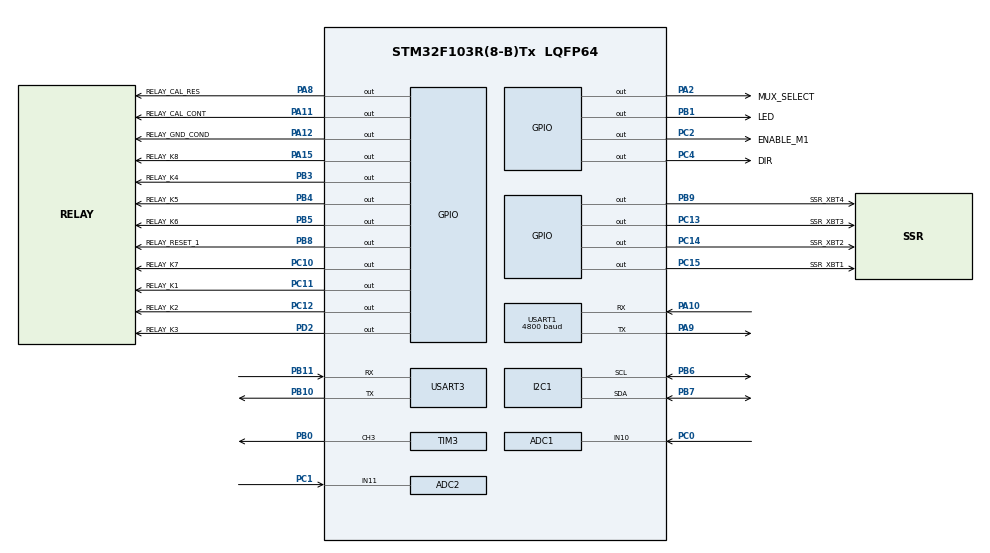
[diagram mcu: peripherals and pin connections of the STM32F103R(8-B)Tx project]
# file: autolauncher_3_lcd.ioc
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ADC1.Channel-0\#ChannelRegularConversion=ADC_CHANNEL_10
ADC1.NbrOfConversionFlag=1
ADC1.Rank-0\#ChannelRegularConversion=1
ADC1.SamplingTime-0\#ChannelRegularConversion=ADC_SAMPLETIME_1CYCLE_5
ADC1.master=1
ADC2.Channel-0\#ChannelRegularConversion=ADC_CHANNEL_11
ADC2.NbrOfConversionFlag=1
ADC2.Rank-0\#ChannelRegularConversion=1
ADC2.SamplingTime-0\#ChannelRegularConversion=ADC_SAMPLETIME_1CYCLE_5
Mcu.Family=STM32F1
Mcu.Name=STM32F103R(8-B)Tx
Mcu.Package=LQFP64
NVIC.PriorityGroup=NVIC_PRIORITYGROUP_4
PA10.Mode=Asynchronous
PA10.Signal=USART1_RX
PA11.GPIO_Label=RELAY_CAL_CONT
PA11.Signal=GPIO_Output
PA12.GPIO_Label=RELAY_GND_COND
PA12.Signal=GPIO_Output
PA13.Mode=Serial_Wire
PA13.Signal=SYS_JTMS-SWDIO
PA14.Mode=Serial_Wire
PA14.Signal=SYS_JTCK-SWCLK
PA15.GPIO_Label=RELAY_K8
PA15.Signal=GPIO_Output
PA2.GPIO_Label=MUX_SELECT
PA2.Signal=GPIO_Output
PA8.GPIO_Label=RELAY_CAL_RES
PA8.Signal=GPIO_Output
PA9.Mode=Asynchronous
PA9.Signal=USART1_TX
PB0.Signal=S_TIM3_CH3
PB1.GPIO_Label=LED
PB1.Signal=GPIO_Output
PB10.Mode=Asynchronous
PB10.Signal=USART3_TX
PB11.Mode=Asynchronous
PB11.Signal=USART3_RX
PB3.GPIO_Label=RELAY_K4
PB3.Signal=GPIO_Output
PB4.GPIO_Label=RELAY_K5
PB4.Signal=GPIO_Output
PB5.GPIO_Label=RELAY_K6
PB5.Signal=GPIO_Output
PB6.Mode=I2C
PB6.Signal=I2C1_SCL
PB7.Mode=I2C
PB7.Signal=I2C1_SDA
PB8.GPIO_Label=RELAY_RESET_1
PB8.Signal=GPIO_Output
PB9.GPIO_Label=SSR_XBT4
PB9.Signal=GPIO_Output
PC0.Signal=ADCx_IN10
PC1.Signal=ADCx_IN11
PC10.GPIO_Label=RELAY_K7
PC10.Signal=GPIO_Output
PC11.GPIO_Label=RELAY_K1
PC11.Signal=GPIO_Output
PC12.GPIO_Label=RELAY_K2
PC12.Signal=GPIO_Output
PC13-TAMPER-RTC.GPIO_Label=SSR_XBT3
PC13-TAMPER-RTC.Signal=GPIO_Output
PC14-OSC32_IN.GPIO_Label=SSR_XBT2
PC14-OSC32_IN.Signal=GPIO_Output
PC15-OSC32_OUT.GPIO_Label=SSR_XBT1
PC15-OSC32_OUT.Signal=GPIO_Output
PC2.GPIO_Label=ENABLE_M1
PC2.Signal=GPIO_Output
PC4.GPIO_Label=DIR
PC4.Signal=GPIO_Output
PD0-OSC_IN.Mode=HSE-External-Oscillator
PD0-OSC_IN.Signal=RCC_OSC_IN
PD1-OSC_OUT.Mode=HSE-External-Oscillator
PD1-OSC_OUT.Signal=RCC_OSC_OUT
PD2.GPIO_Label=RELAY_K3
PD2.Signal=GPIO_Output
ProjectManager.HeapSize=0x200
ProjectManager.StackSize=0x400
ProjectManager.TargetToolchain=STM32CubeIDE
RCC.APB1Freq_Value=8000000
RCC.APB2Freq_Value=8000000
SH.ADCx_IN10.0=ADC1_IN10,IN10
SH.ADCx_IN11.0=ADC2_IN11,IN11
SH.S_TIM3_CH3.0=TIM3_CH3,Output Compare3 CH3
TIM3.AutoReloadPreload=TIM_AUTORELOAD_PRELOAD_ENABLE
TIM3.Channel-Output\ Compare3\ CH3=TIM_CHANNEL_3
TIM3.OCMode_3=TIM_OCMODE_TOGGLE
TIM3.Period=15-1
TIM3.Prescaler=1000-1
USART1.BaudRate=4800
USART1.VirtualMode=VM_ASYNC
USART3.VirtualMode=VM_ASYNC
VP_TIM3_VS_ClockSourceINT.Mode=Internal
board=custom

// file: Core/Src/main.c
/* USER CODE BEGIN Header */
/**
  ******************************************************************************
  * @file           : main.c
  * @brief          : Main program body
  ******************************************************************************
  * @attention
  *
  * Copyright (c) 2024 STMicroelectronics.
  * All rights reserved.
  *
  * This software is licensed under terms that can be found in the LICENSE file
  * in the root directory of this software component.
  * If no LICENSE file comes with this software, it is provided AS-IS.
  *
  ******************************************************************************
  */
/* USER CODE END Header */
#include "main.h"
#include "adc.h"
#include "i2c.h"
#include "tim.h"
#include "usart.h"
#include "gpio.h"

/* USER CODE BEGIN Includes */
#include "API_lcd_i2c.h"
/* USER CODE END Includes */

/* USER CODE BEGIN PD */
#define WELCOME_MSG "Welcome to the Autolauncher console test\r\n"
//#define MAIN_MENU "Select an option:\r\n1-Toggle green led\r\n2-Set relay\r\n3-Reset relay\r\n4-Run motor CW\r\n5-Run motor CCW\r\n6-MUX change to GPS\r\n7-MUX change to STM32\r\n8-Read Vin\r\n9-Write/read eeprom\r\n0-Read eeprom\r\n"
#define PROMPT "\r\n> Enter command: "
/* USER CODE END PD */

/* USER CODE BEGIN PV */
const char menu[] = "Select an option:"
		"\r\n0-Read eeprom\r\n1-Toggle green led\r\n2-Set relay K1\r\n3-Reset relays 1-6\r\n4-Run motor CW\r\n5-Run motor CCW"
		"\r\n6-MUX change to GPS\r\n7-MUX change to STM32\r\n8-Read Vin\r\n9-Write/read eeprom"
		"\r\na-Set relay K2\r\nb-Set relay K3\r\nc-Set relay K4\r\nd-Set relay K5\r\ne-Set relay K6\r\n";
/* USER CODE END PV */

void SystemClock_Config(void);
/* USER CODE BEGIN PFP */
void printWelcomeMessage(void); // Print initial message
//uint8_t readInput(void);
char readInput(void);
//uint8_t processInput(uint8_t option);
uint8_t processInput(char option);
/* USER CODE END PFP */

int main(void)
{

  /* MCU Configuration--------------------------------------------------------*/

  /* Reset of all peripherals, Initializes the Flash interface and the Systick. */
  HAL_Init();

  /* Configure the system clock */
  SystemClock_Config();

  /* Initialize all configured peripherals */
  MX_GPIO_Init();
  MX_TIM3_Init();
  MX_USART1_UART_Init();
  MX_ADC1_Init();
  MX_ADC2_Init();
  MX_I2C1_Init();
  MX_USART3_UART_Init();
  /* USER CODE BEGIN 2 */

  /* LCD */
  i2c_linker(&hi2c1);
  lcd_init();

  uint8_t text0[] = "* PCSE *";
  uint8_t text1[] = "CESE 2023";
  uint8_t text2[] = "UBA";
  const uint8_t space[] = " ";

  lcd_clear();
  HAL_Delay(1000);
  lcd_print_text(text0, sizeof(text0));
  HAL_Delay(1000);
  lcd_clear();
  HAL_Delay(1000);
  //lcd_set_position(1, 1);
  return_home();
  lcd_print_text(text1, sizeof(text1));
  lcd_set_position(2, 1);
  lcd_print_text(text2, sizeof(text2));

  lcd_print_text(space, sizeof(space));

  uint8_t mychar1[] = { 0x00, 0x0E, 0x11, 0x11, 0x11,0x0E, 0x00,0x00 }; // empty circle
  uint8_t mychar2[] = {0x00, 0x00, 0x0A, 0x00, 0x11, 0x0E, 0x00, 0x00}; // face
  uint8_t mychar3[] = {0x00,0x0E,0x1F,0x1F,0x1F,0x0E,0x00,0x00}; // full circle

  create_character(0, mychar1);
  create_character(1, mychar2);
  create_character(3, mychar3);

  lcd_set_position(2, 5);

  lcd_send_byte(0, RS_DATA, RW_WRITE);
  lcd_send_byte(1, RS_DATA, RW_WRITE);
  lcd_send_byte(3, RS_DATA, RW_WRITE);

  uint8_t charIndex = 0;
  /* LCD */

  HAL_GPIO_WritePin(ENABLE_M1_GPIO_Port, ENABLE_M1_Pin, SET); // Active low >> start disabled

  //uint8_t option = 0; // Initial option value
  char option = '\0';
  uint8_t result = 0;

  // SET = UART-tx / RESET = Din from GPS
  HAL_GPIO_WritePin(MUX_SELECT_GPIO_Port, MUX_SELECT_Pin, SET);

  // Initialize relay in reset state
  HAL_GPIO_WritePin(RELAY_RESET_1_GPIO_Port, RELAY_RESET_1_Pin, SET); // reset relay
  HAL_Delay(10);
  HAL_GPIO_WritePin(RELAY_RESET_1_GPIO_Port, RELAY_RESET_1_Pin, RESET); // release reset coil
  HAL_Delay(5);

  // Start timer for STEP signal
  //HAL_TIM_OC_Start(&htim3, TIM_CHANNEL_3 ); // Start STEP signal >> counter toggle to toggle every 20/1000 sec = 50hz

  printWelcomeMessage();
  /* USER CODE END 2 */

  /* Infinite loop */
  /* USER CODE BEGIN WHILE */
  while (1)
  {
	  // display available characters
	  lcd_set_position(2, 14);
	  if(charIndex>207) charIndex = 0;
	  lcd_send_byte(charIndex, RS_DATA, RW_WRITE);
	  charIndex++;

	  // process commands
	  option = readInput();
	  result = processInput(option);

    /* USER CODE END WHILE */

  }
}

void SystemClock_Config(void)
{
  RCC_OscInitTypeDef RCC_OscInitStruct = {0};
  RCC_ClkInitTypeDef RCC_ClkInitStruct = {0};
  RCC_PeriphCLKInitTypeDef PeriphClkInit = {0};

  /** Initializes the RCC Oscillators according to the specified parameters
  * in the RCC_OscInitTypeDef structure.
  */
  RCC_OscInitStruct.OscillatorType = RCC_OSCILLATORTYPE_HSI;
  RCC_OscInitStruct.HSIState = RCC_HSI_ON;
  RCC_OscInitStruct.HSICalibrationValue = RCC_HSICALIBRATION_DEFAULT;
  RCC_OscInitStruct.PLL.PLLState = RCC_PLL_NONE;
  if (HAL_RCC_OscConfig(&RCC_OscInitStruct) != HAL_OK)
  {
    Error_Handler();
  }

  /** Initializes the CPU, AHB and APB buses clocks
  */
  RCC_ClkInitStruct.ClockType = RCC_CLOCKTYPE_HCLK|RCC_CLOCKTYPE_SYSCLK
                              |RCC_CLOCKTYPE_PCLK1|RCC_CLOCKTYPE_PCLK2;
  RCC_ClkInitStruct.SYSCLKSource = RCC_SYSCLKSOURCE_HSI;
  RCC_ClkInitStruct.AHBCLKDivider = RCC_SYSCLK_DIV1;
  RCC_ClkInitStruct.APB1CLKDivider = RCC_HCLK_DIV1;
  RCC_ClkInitStruct.APB2CLKDivider = RCC_HCLK_DIV1;

  if (HAL_RCC_ClockConfig(&RCC_ClkInitStruct, FLASH_LATENCY_0) != HAL_OK)
  {
    Error_Handler();
  }
  PeriphClkInit.PeriphClockSelection = RCC_PERIPHCLK_ADC;
  PeriphClkInit.AdcClockSelection = RCC_ADCPCLK2_DIV2;
  if (HAL_RCCEx_PeriphCLKConfig(&PeriphClkInit) != HAL_OK)
  {
    Error_Handler();
  }
}

/* USER CODE BEGIN 4 */
void printWelcomeMessage(void){
	HAL_UART_Transmit(&huart1, WELCOME_MSG, strlen(WELCOME_MSG), HAL_MAX_DELAY);
	HAL_UART_Transmit(&huart1, menu, strlen(menu), HAL_MAX_DELAY);
}

/* Read user input and return the option selected 1-2-3*/
char readInput(void){
	char rxBuffer[1];

	HAL_UART_Transmit(&huart1, PROMPT, strlen(PROMPT), HAL_MAX_DELAY);
	HAL_UART_Receive(&huart1, rxBuffer, 1, HAL_MAX_DELAY);
	HAL_UART_Transmit(&huart1, rxBuffer, 1, HAL_MAX_DELAY); // echo

	//return atoi(rxBuffer);
	return rxBuffer[0];
}

uint8_t processInput(char option){
	// default
	char msg[30];
	// ADC measurement
	char adcmsg[30];
	float vin = 0.0;
	uint16_t adcReading = 0;
	// EEPROM
	uint8_t chipAddress = 0xA0; // 0b1010000 7 bit address
	uint8_t dataReceive[10];
	uint8_t dataByte[4]; // = {0x00, 5, 12, 4}; // store 5 in memory 0x00 and 12 in (n+1)= 0x01
	uint8_t startAddress[1] = {0x00};
	char output[20];

	// print what was selected
	sprintf(msg, "\r\n> Executing OPTION %d...\r\n",option);
	HAL_UART_Transmit(&huart1, msg, strlen(msg), HAL_MAX_DELAY);

	// Execute selected action
	switch(option){
	case 'a': // Set relay
		// SET relay k2
		HAL_GPIO_WritePin(RELAY_K2_GPIO_Port, RELAY_K2_Pin, SET); // set relay
		HAL_Delay(10);
		HAL_GPIO_WritePin(RELAY_K2_GPIO_Port, RELAY_K2_Pin, RESET); // release coil
		HAL_Delay(5);
		return 0;
	case 'b': // Set relay
		// SET relay k3
		HAL_GPIO_WritePin(RELAY_K3_GPIO_Port, RELAY_K3_Pin, SET); // set relay
		HAL_Delay(10);
		HAL_GPIO_WritePin(RELAY_K3_GPIO_Port, RELAY_K3_Pin, RESET); // release coil
		HAL_Delay(5);
		return 0;
	case 'c': // Set relay
		// SET relay k4
		HAL_GPIO_WritePin(RELAY_K4_GPIO_Port, RELAY_K4_Pin, SET); // set relay
		HAL_Delay(10);
		HAL_GPIO_WritePin(RELAY_K4_GPIO_Port, RELAY_K4_Pin, RESET); // release coil
		HAL_Delay(5);
		return 0;
	case 'd': // Set relay
		// SET relay k5
		HAL_GPIO_WritePin(RELAY_K5_GPIO_Port, RELAY_K5_Pin, SET); // set relay
		HAL_Delay(10);
		HAL_GPIO_WritePin(RELAY_K5_GPIO_Port, RELAY_K5_Pin, RESET); // release coil
		HAL_Delay(5);
		return 0;
	case 'e': // Set relay
		// SET relay k6
		HAL_GPIO_WritePin(RELAY_K6_GPIO_Port, RELAY_K6_Pin, SET); // set relay
		HAL_Delay(10);
		HAL_GPIO_WritePin(RELAY_K6_GPIO_Port, RELAY_K6_Pin, RESET); // release coil
		HAL_Delay(5);
		return 0;
	case '1': // toggle green led
		HAL_GPIO_TogglePin(LED_GPIO_Port, LED_Pin);
		return 0;
	case '2': // Set relay
		// SET relay k1
		HAL_GPIO_WritePin(RELAY_K1_GPIO_Port, RELAY_K1_Pin, SET); // set relay
		HAL_Delay(10);
		HAL_GPIO_WritePin(RELAY_K1_GPIO_Port, RELAY_K1_Pin, RESET); // release coil
		HAL_Delay(5);
		// SET SSR1 XBT1
		HAL_GPIO_WritePin(SSR_XBT1_GPIO_Port, SSR_XBT1_Pin, SET); // set SSR latch
		HAL_Delay(10);
		HAL_GPIO_WritePin(SSR_XBT1_GPIO_Port, SSR_XBT1_Pin, RESET); // release SSR latch
		HAL_Delay(5);
		return 0;
	case '3': // Reset relay
		// RESET relay k1
		HAL_GPIO_WritePin(RELAY_RESET_1_GPIO_Port, RELAY_RESET_1_Pin, SET); // reset relay and SSR
		HAL_Delay(10);
		HAL_GPIO_WritePin(RELAY_RESET_1_GPIO_Port, RELAY_RESET_1_Pin, RESET); // release reset coil
		HAL_Delay(5);
		return 0;
	case '4': // Run motor CW
		HAL_TIM_OC_Start(&htim3, TIM_CHANNEL_3 ); // Start STEP signal >> counter toggle to toggle every 20/1000 sec = 50hz
		// motor
		HAL_GPIO_WritePin(ENABLE_M1_GPIO_Port, ENABLE_M1_Pin, SET); // disable driver
		HAL_Delay(500); // wait for the motor to stop
		HAL_GPIO_WritePin(DIR_GPIO_Port,DIR_Pin, SET); // set motor direction
		HAL_GPIO_WritePin(ENABLE_M1_GPIO_Port, ENABLE_M1_Pin, RESET); // enable driver to run motor
		// read current
		HAL_ADC_Start(&hadc2);

		HAL_ADC_PollForConversion(&hadc2, 100);
		adcReading = (uint16_t) HAL_ADC_GetValue(&hadc2);
		sprintf(adcmsg, "Im_1 = %d\r\n", (uint32_t) adcReading);
		HAL_UART_Transmit(&huart1, adcmsg, strlen(adcmsg), HAL_MAX_DELAY);
		HAL_Delay(1000);

		HAL_ADC_PollForConversion(&hadc2, 100);
		adcReading = (uint16_t) HAL_ADC_GetValue(&hadc2);
		sprintf(adcmsg, "Im_2 = %d\r\n", (uint32_t) adcReading);
		HAL_UART_Transmit(&huart1, adcmsg, strlen(adcmsg), HAL_MAX_DELAY);
		HAL_Delay(1000);

		HAL_ADC_PollForConversion(&hadc2, 100);
		adcReading = (uint16_t) HAL_ADC_GetValue(&hadc2);
		sprintf(adcmsg, "Im_3 = %d\r\n", (uint32_t) adcReading);
		HAL_UART_Transmit(&huart1, adcmsg, strlen(adcmsg), HAL_MAX_DELAY);
		HAL_Delay(1000);

		HAL_ADC_PollForConversion(&hadc2, 100);
		adcReading = (uint16_t) HAL_ADC_GetValue(&hadc2);
		sprintf(adcmsg, "Im_4 = %d\r\n", (uint32_t) adcReading);
		HAL_UART_Transmit(&huart1, adcmsg, strlen(adcmsg), HAL_MAX_DELAY);
		HAL_Delay(1000);

		HAL_ADC_Stop(&hadc1);

		//HAL_Delay(5000); // run 5 seconds
		HAL_GPIO_WritePin(ENABLE_M1_GPIO_Port, ENABLE_M1_Pin, SET); // disable driver
		HAL_TIM_OC_Stop(&htim3, TIM_CHANNEL_3 );

		return 0;
	case '5': // Run motor CCW
		HAL_TIM_OC_Start(&htim3, TIM_CHANNEL_3 );
		// motor
		HAL_GPIO_WritePin(ENABLE_M1_GPIO_Port, ENABLE_M1_Pin, SET); // disable driver
		HAL_Delay(500); // wait for the motor to stop
		HAL_GPIO_WritePin(DIR_GPIO_Port,DIR_Pin, RESET); // set motor direction
		HAL_GPIO_WritePin(ENABLE_M1_GPIO_Port, ENABLE_M1_Pin, RESET); // enable driver to run motor
		HAL_Delay(5000); // run 5 seconds
		HAL_GPIO_WritePin(ENABLE_M1_GPIO_Port, ENABLE_M1_Pin, SET); // disable driver

		HAL_TIM_OC_Stop(&htim3, TIM_CHANNEL_3 );
		return 0;
	case '6': // change MUX to GPS
		HAL_GPIO_WritePin(MUX_SELECT_GPIO_Port, MUX_SELECT_Pin, RESET);
		return 0;
	case '7': // change MUX to STM32
		HAL_GPIO_WritePin(MUX_SELECT_GPIO_Port, MUX_SELECT_Pin, SET);
		return 0;
	case '8': // read ADC Vin
		HAL_ADC_Start(&hadc1);
		for(uint8_t i=0; i<10; i++){
			HAL_ADC_PollForConversion(&hadc1, 100);
			adcReading += (uint16_t) HAL_ADC_GetValue(&hadc1);
		}
		HAL_ADC_Stop(&hadc1);
		adcReading = adcReading/10;
		vin = adcReading * 17.0/1867.0;

		//char adcmsg[30];
		sprintf(adcmsg, "Vin = %d ", (int)vin);
		HAL_UART_Transmit(&huart1, adcmsg, strlen(adcmsg), HAL_MAX_DELAY);
		return 0;
	case '9':
		// get values to store in eeprom
		uint8_t a,b;
		char rxBuffer[1];
		HAL_UART_Transmit(&huart1, "Val-1= ", strlen("Val-1= "), HAL_MAX_DELAY);
		HAL_UART_Receive(&huart1, rxBuffer, 1, HAL_MAX_DELAY);
		HAL_UART_Transmit(&huart1, rxBuffer, 1, HAL_MAX_DELAY); // echo
		a = atoi(rxBuffer);
		HAL_UART_Transmit(&huart1, "\r\nVal-2= ", strlen("\r\nVal-2= "), HAL_MAX_DELAY);
		HAL_UART_Receive(&huart1, rxBuffer, 1, HAL_MAX_DELAY);
		HAL_UART_Transmit(&huart1, rxBuffer, 1, HAL_MAX_DELAY); // echo
		b = atoi(rxBuffer);

		// store 2 bytes starting in address 0x00 total 1 kbit = 1024 bit = 128 bytes
		// 1 page = 8 bytes >> 16 pages >> (0x00) 0-7, 8-15, 16-23, ... 120-127 (0x7F)
		dataByte[0] = 0x00;
		dataByte[1] = a;
		dataByte[2] = b;
		dataByte[3] = 249; // 0-255 8bits
		HAL_I2C_Master_Transmit(&hi2c1, chipAddress , dataByte, 4, HAL_MAX_DELAY); // send word address, value
		HAL_Delay(10);

		// read 2 bytes from data address 0x00, 0x01
		HAL_I2C_Master_Transmit(&hi2c1, chipAddress , startAddress, 1, HAL_MAX_DELAY); // dummy write with word address 0x00 as starting address
		HAL_Delay(10);
		HAL_I2C_Master_Receive(&hi2c1, chipAddress, dataReceive, 3, HAL_MAX_DELAY);

		sprintf(output,"\r\nStored values: %i, %i, %i\r\n", dataReceive[0], dataReceive[1], dataReceive[2]);
		HAL_UART_Transmit(&huart1, output, strlen(output), HAL_MAX_DELAY);
		return 0;
	case '0':
		// read 2 bytes from data address 0x00, 0x01
		HAL_I2C_Master_Transmit(&hi2c1, chipAddress , startAddress, 1, HAL_MAX_DELAY); // dummy write with word address 0x00 as starting address
		HAL_Delay(10);
		HAL_I2C_Master_Receive(&hi2c1, chipAddress, dataReceive, 3, HAL_MAX_DELAY);

		sprintf(output,"Stored values: %i, %i, %i\r\n", dataReceive[0], dataReceive[1], dataReceive[2]);
		HAL_UART_Transmit(&huart1, output, strlen(output), HAL_MAX_DELAY);
		return 0;
	default:
		sprintf(msg, "\r\n> %d is not a valid option!");
		HAL_UART_Transmit(&huart1, msg, strlen(msg), HAL_MAX_DELAY);
		return 1;

	}

}

/* USER CODE END 4 */

void Error_Handler(void)
{
  __disable_irq();
  while (1)
  {
  }
}
